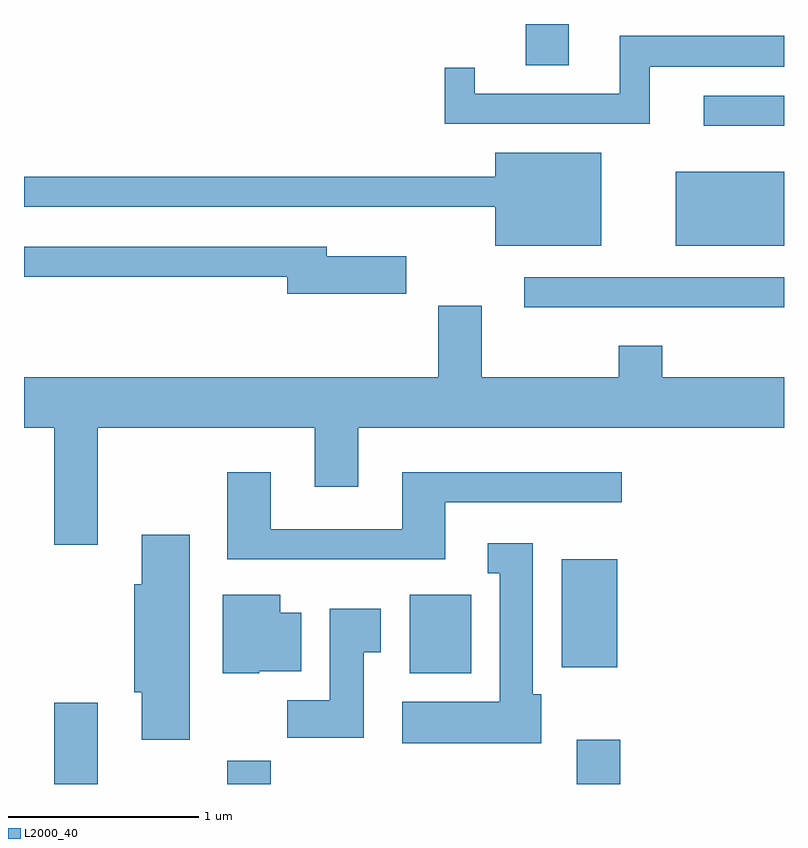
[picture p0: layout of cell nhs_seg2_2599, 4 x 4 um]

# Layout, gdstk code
import gdstk
lib = gdstk.Library(unit=1e-6, precision=1e-09)
def R(c, l, rs):  # rectangles x0, y0, x1, y1
    for r in rs: c.add(gdstk.rectangle(r[:2], r[2:], *l))
def P(c, l, *ps):  # polygons
    for p in ps: c.add(gdstk.Polygon(p, *l))
L2000_40 = (2000, 40)

nhs_seg2_2599 = lib.new_cell('nhs_seg2_2599')
R(nhs_seg2_2599, L2000_40, [(261.771,1019.802,261.999,1020.229), (262.681,1019.802,262.909,1019.924), (264.521,1019.802,264.749,1020.034), (263.641,1020.386,263.964,1020.799), (264.441,1020.416,264.734,1020.984), (264.243,1022.311,265.611,1022.469), (265.041,1022.636,265.611,1023.024), (265.188,1023.266,265.611,1023.424), (264.251,1023.586,264.479,1023.802)])
P(nhs_seg2_2599, L2000_40, [(264.904,1023.576),(265.611,1023.576),(265.611,1023.739),(264.746,1023.739),(264.746,1023.434),(263.984,1023.434),(263.984,1023.573),(263.826,1023.573),(263.826,1023.276),(264.904,1023.276)],
  [(264.649,1023.124),(264.091,1023.124),(264.091,1022.999),(261.611,1022.999),(261.611,1022.841),(264.091,1022.841),(264.091,1022.636),(264.649,1022.636)],
  [(263.624,1022.579),(263.204,1022.579),(263.204,1022.629),(261.611,1022.629),(261.611,1022.471),(262.996,1022.471),(262.996,1022.381),(263.624,1022.381)],
  [(261.999,1021.676),(263.141,1021.676),(263.141,1021.366),(263.369,1021.366),(263.369,1021.676),(265.611,1021.676),(265.611,1021.944),(264.969,1021.944),(264.969,1022.109),(264.741,1022.109),(264.741,1021.944),(264.019,1021.944),(264.019,1022.319),(263.791,1022.319),(263.791,1021.944),(261.611,1021.944),(261.611,1021.676),(261.771,1021.676),(261.771,1021.061),(261.999,1021.061)],
  [(263.829,1021.286),(264.758,1021.286),(264.758,1021.444),(263.601,1021.444),(263.601,1021.144),(262.909,1021.144),(262.909,1021.444),(262.681,1021.444),(262.681,1020.986),(263.829,1020.986)],
  [(262.484,1021.114),(262.231,1021.114),(262.231,1020.854),(262.191,1020.854),(262.191,1020.286),(262.231,1020.286),(262.231,1020.036),(262.484,1020.036)],
  [(264.334,1020.274),(264.289,1020.274),(264.289,1021.069),(264.053,1021.069),(264.053,1020.911),(264.116,1020.911),(264.116,1020.234),(263.601,1020.234),(263.601,1020.016),(264.334,1020.016)],
  [(262.85,1020.396),(263.069,1020.396),(263.069,1020.704),(262.959,1020.704),(262.959,1020.799),(262.656,1020.799),(262.656,1020.386),(262.85,1020.386)],
  [(263.399,1020.496),(263.489,1020.496),(263.489,1020.724),(263.221,1020.724),(263.221,1020.244),(262.996,1020.244),(262.996,1020.046),(263.399,1020.046)])

lib.write_gds('nhs_seg2_2599.gds')
